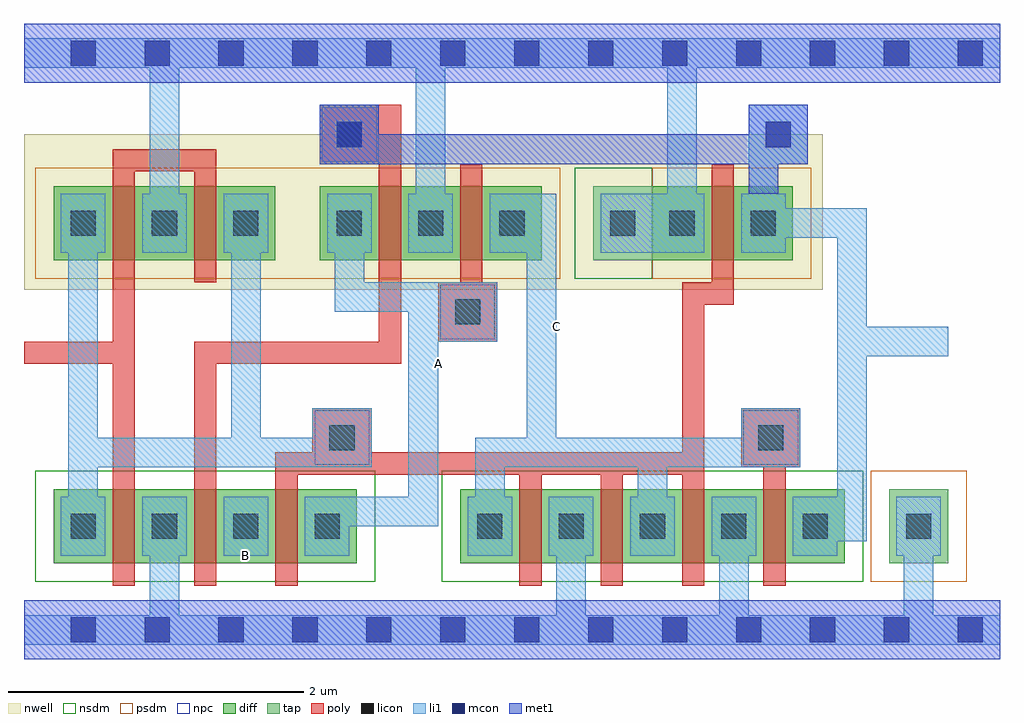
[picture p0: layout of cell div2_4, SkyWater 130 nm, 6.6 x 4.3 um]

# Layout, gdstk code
import gdstk
lib = gdstk.Library(unit=1e-6, precision=1e-09)
def R(c, l, rs):  # rectangles x0, y0, x1, y1
    for r in rs: c.add(gdstk.rectangle(r[:2], r[2:], *l))
def A(c, l, x, y, w, h, nx, ny, dx, dy):  # array of equal rectangles
    R(c, l, [(x+i*dx, y+j*dy, x+i*dx+w, y+j*dy+h) for i in range(nx) for j in range(ny)])
nwell = (64, 20)
diff = (65, 20)
tap = (65, 44)
poly = (66, 20)
licon = (66, 44)
li1 = (67, 20)
mcon = (67, 44)
met1 = (68, 20)
nsdm = (93, 44)
psdm = (94, 20)
npc = (95, 20)

div2_4 = lib.new_cell('div2_4')
R(div2_4, nwell, [(6.05,1.5,11.45,2.55)])
R(div2_4, diff, [(6.25,-0.35,8.3,0.15), (9,-0.35,11.6,0.15), (6.25,1.7,7.75,2.2), (8.05,1.7,9.55,2.2), (10.3,1.7,11.25,2.2)])
R(div2_4, tap, [(11.9,-0.35,12.3,0.15), (9.9,1.7,10.3,2.2)])
A(div2_4, poly, 9.4, -0.5, 0.15, 0.75, 3, 1, 0.55, 0)
R(div2_4, poly, [(6.65,-0.5,6.8,1), (7.2,-0.5,7.35,1), (7.75,-0.5,7.9,0.25), (11.05,-0.5,11.2,0.3), (7.75,0.25,10.65,0.4), (10.9,0.3,11.3,0.7), (8,0.4,8.4,0.7), (10.5,0.4,10.65,1.4), (6.05,1,6.8,1.15), (7.2,1,8.6,1.15), (6.65,1.15,6.8,2.3), (8.45,1.15,8.6,2.35), (8.85,1.15,9.25,1.55), (10.5,1.4,10.85,1.55), (7.2,1.55,7.35,2.3), (9,1.55,9.15,2.35), (10.7,1.55,10.85,2.35), (6.65,2.3,7.35,2.45), (8.05,2.35,8.6,2.75)])
A(div2_4, licon, 6.365, -0.185, 0.17, 0.17, 4, 1, 0.55, 0)
A(div2_4, licon, 9.115, -0.185, 0.17, 0.17, 5, 1, 0.55, 0)
A(div2_4, licon, 6.365, 1.865, 0.17, 0.17, 3, 1, 0.55, 0)
A(div2_4, licon, 8.165, 1.865, 0.17, 0.17, 3, 1, 0.55, 0)
R(div2_4, licon, [(12.015,-0.185,12.185,-0.015), (8.115,0.415,8.285,0.585), (11.015,0.415,11.185,0.585), (8.965,1.265,9.135,1.435), (10.015,1.865,10.185,2.035), (10.415,1.865,10.585,2.035), (10.965,1.865,11.135,2.035), (8.165,2.465,8.335,2.635)])
A(div2_4, li1, 6.3, -0.3, 0.3, 0.4, 3, 2, 0.55, 2.05)
A(div2_4, li1, 9.05, -0.3, 0.3, 0.4, 4, 1, 0.55, 0)
R(div2_4, li1, [(6.05,-0.9,12.65,-0.7), (6.9,-0.7,7.1,-0.3), (9.65,-0.7,9.85,-0.3), (10.75,-0.7,10.95,-0.3), (12,-0.7,12.2,-0.3), (7.95,-0.3,8.25,-0.1), (11.25,-0.3,11.55,-0.2), (11.95,-0.3,12.25,0.1), (11.25,-0.2,11.75,0.1), (7.95,-0.1,8.85,0.1), (6.35,0.1,6.55,0.3), (8.65,0.1,8.85,1.15), (9.1,0.1,9.3,0.3), (10.2,0.1,10.4,0.3), (11.55,0.1,11.75,1.05), (6.35,0.3,8.4,0.5), (9.1,0.3,11.3,0.5), (6.35,0.5,6.55,1.75), (7.45,0.5,7.65,1.75), (8,0.5,8.4,0.7), (9.45,0.5,9.65,1.75), (10.9,0.5,11.3,0.7), (11.55,1.05,12.3,1.25), (8.65,1.15,9.25,1.35), (11.55,1.25,11.75,1.85), (8.15,1.35,9.25,1.55), (8.15,1.55,8.35,1.75), (8.1,1.75,8.4,2.15), (8.65,1.75,8.95,2.15), (9.2,1.75,9.65,2.15), (9.95,1.75,10.65,2.15), (10.9,1.75,11.2,1.85), (10.9,1.85,11.75,2.05), (10.9,2.05,11.2,2.15), (6.9,2.15,7.1,3), (8.7,2.15,8.9,3), (10.4,2.15,10.6,3), (10.95,2.15,11.15,2.35), (8.05,2.35,8.45,2.75), (10.95,2.35,11.35,2.75), (6.05,3,12.65,3.2)])
A(div2_4, mcon, 6.365, -0.885, 0.17, 0.17, 13, 2, 0.5, 3.9)
R(div2_4, mcon, [(8.165,2.465,8.335,2.635), (11.065,2.465,11.235,2.635)])
R(div2_4, met1, [(6.05,-1,12.65,-0.6), (10.95,2.15,11.15,2.35), (8.05,2.35,11.35,2.55), (8.05,2.55,8.45,2.75), (10.95,2.55,11.35,2.75), (6.05,2.9,12.65,3.3)])
R(div2_4, nsdm, [(6.125,-0.475,8.425,0.275), (8.875,-0.475,11.725,0.275), (9.775,1.575,10.3,2.325)])
R(div2_4, psdm, [(11.775,-0.475,12.425,0.275), (6.125,1.575,9.675,2.325), (10.3,1.575,11.375,2.325)])
R(div2_4, npc, [(8.015,0.315,8.385,0.685), (10.915,0.315,11.285,0.685), (8.865,1.165,9.235,1.535), (8.065,2.365,8.435,2.735)])
div2_4.add(gdstk.Label('B', (7.55,-0.3), layer=67, texttype=5))
div2_4.add(gdstk.Label('C', (9.65,1.25), layer=67, texttype=5))
div2_4.add(gdstk.Label('A', (8.85,1), layer=67, texttype=5))

lib.write_gds('div2_4.gds')
